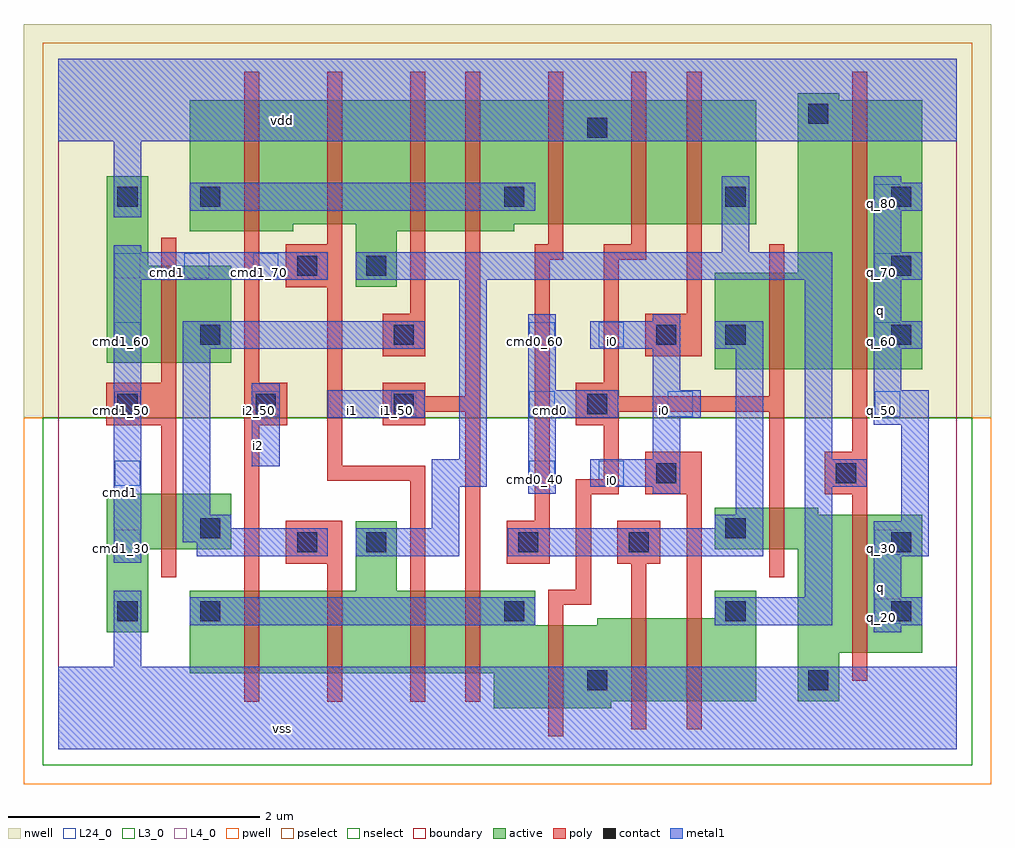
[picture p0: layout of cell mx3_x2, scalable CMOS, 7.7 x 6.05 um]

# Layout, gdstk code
import gdstk
lib = gdstk.Library(unit=1e-6, precision=2.5e-09)
def R(c, l, rs):  # rectangles x0, y0, x1, y1
    for r in rs: c.add(gdstk.rectangle(r[:2], r[2:], *l))
def A(c, l, x, y, w, h, nx, ny, dx, dy):  # array of equal rectangles
    R(c, l, [(x+i*dx, y+j*dy, x+i*dx+w, y+j*dy+h) for i in range(nx) for j in range(ny)])
L3_0 = (3, 0)
L4_0 = (4, 0)
L24_0 = (24, 0)
contact = (25, 0)
pwell = (41, 0)
nwell = (42, 0)
active = (43, 0)
pselect = (44, 0)
nselect = (45, 0)
poly = (46, 0)
metal1 = (49, 0)
boundary = (63, 0)

mx3_x2 = lib.new_cell('mx3_x2')
R(mx3_x2, L3_0, [(3.465,0.33,4.4,0.385), (3.465,0.385,5.555,0.605), (5.885,0.385,6.215,0.77), (1.045,0.605,5.555,0.99), (5.885,0.77,6.875,1.595), (0.385,0.935,0.715,1.595), (1.045,0.99,3.795,1.265), (4.29,0.99,5.555,1.045), (5.225,1.045,5.555,1.265), (2.365,1.265,2.695,1.815), (0.385,1.595,1.375,2.035), (5.225,1.595,6.875,1.87), (5.225,1.87,6.05,1.925)])
R(mx3_x2, L4_0, [(5.225,3.025,6.875,3.795), (0.385,3.08,1.375,3.85), (2.365,3.685,2.695,4.125), (5.885,3.795,6.875,5.17), (0.385,3.85,0.715,4.565), (1.045,4.125,1.87,4.18), (2.365,4.125,3.63,4.18), (1.045,4.18,5.555,5.17), (5.885,5.17,6.215,5.225)])
A(mx3_x2, L24_0, 0.45, 2.65, 0.2, 0.2, 5, 1, 1.1, 0)
A(mx3_x2, L24_0, 6.5, 2.65, 0.2, 0.2, 1, 4, 0, 0.55)
A(mx3_x2, L24_0, 0.45, 3.75, 0.2, 0.2, 3, 1, 0.55, 0)
R(mx3_x2, L24_0, [(6.5,1,6.7,1.2), (0.45,1.55,0.65,1.75), (6.5,1.55,6.7,1.75), (0.45,2.1,0.65,2.3), (3.75,2.1,3.95,2.3), (4.3,2.1,4.5,2.3), (0.45,3.2,0.65,3.4), (3.75,3.2,3.95,3.4), (4.3,3.2,4.5,3.4)])
A(mx3_x2, contact, 4.21, 0.47, 0.16, 0.16, 1, 3, 0, 2.2)
A(mx3_x2, contact, 0.47, 2.67, 0.16, 0.16, 3, 1, 1.1, 0)
A(mx3_x2, contact, 6.63, 3.22, 0.16, 0.16, 1, 3, 0, 0.55)
R(mx3_x2, contact, [(5.97,0.47,6.13,0.63), (0.47,1.02,0.63,1.18), (1.13,1.02,1.29,1.18), (3.55,1.02,3.71,1.18), (5.31,1.02,5.47,1.18), (6.63,1.02,6.79,1.18), (1.9,1.57,2.06,1.73), (2.45,1.57,2.61,1.73), (3.66,1.57,3.82,1.73), (4.54,1.57,4.7,1.73), (6.63,1.57,6.79,1.73), (1.13,1.68,1.29,1.84), (5.31,1.68,5.47,1.84), (4.76,2.12,4.92,2.28), (6.19,2.12,6.35,2.28), (1.13,3.22,1.29,3.38), (2.67,3.22,2.83,3.38), (4.76,3.22,4.92,3.38), (5.31,3.22,5.47,3.38), (1.9,3.77,2.06,3.93), (2.45,3.77,2.61,3.93), (0.47,4.32,0.63,4.48), (1.13,4.32,1.29,4.48), (3.55,4.32,3.71,4.48), (5.31,4.32,5.47,4.48), (5.97,4.98,6.13,5.14)])
R(mx3_x2, pwell, [(-0.275,-0.275,7.425,2.64)])
R(mx3_x2, nwell, [(-0.275,2.64,7.425,5.775)])
R(mx3_x2, active, [(3.465,0.33,4.4,0.385), (3.465,0.385,5.555,0.605), (5.885,0.385,6.215,0.77), (1.045,0.605,5.555,0.99), (5.885,0.77,6.875,1.595), (0.385,0.935,0.715,1.595), (1.045,0.99,3.795,1.265), (4.29,0.99,5.555,1.045), (5.225,1.045,5.555,1.265), (2.365,1.265,2.695,1.815), (0.385,1.595,1.375,2.035), (5.225,1.595,6.875,1.87), (5.225,1.87,6.05,1.925), (5.225,3.025,6.875,3.795), (0.385,3.08,1.375,3.85), (2.365,3.685,2.695,4.125), (5.885,3.795,6.875,5.17), (0.385,3.85,0.715,4.565), (1.045,4.125,1.87,4.18), (2.365,4.125,3.63,4.18), (1.045,4.18,5.555,5.17), (5.885,5.17,6.215,5.225)])
R(mx3_x2, pselect, [(-0.125,2.64,7.275,5.625)])
R(mx3_x2, nselect, [(-0.125,-0.125,7.275,2.64)])
R(mx3_x2, poly, [(3.9,0.105,4.02,1.15), (4.56,0.16,4.68,1.48), (5,0.16,5.12,2.03), (1.48,0.38,1.6,2.58), (2.14,0.38,2.26,1.48), (2.8,0.38,2.92,2.14), (3.24,0.38,3.36,2.69), (6.32,0.545,6.44,2.03), (3.9,1.15,4.24,1.27), (4.12,1.27,4.24,2.03), (0.82,1.37,0.94,2.58), (5.66,1.37,5.78,2.69), (1.81,1.48,2.26,1.82), (3.57,1.48,3.91,1.82), (4.45,1.48,4.79,1.82), (3.79,1.82,3.91,3.9), (4.12,2.03,4.46,2.15), (4.67,2.03,5.12,2.37), (6.1,2.03,6.44,2.37), (2.14,2.14,2.92,2.26), (4.34,2.15,4.46,2.58), (2.14,2.26,2.26,3.68), (6.32,2.37,6.44,5.395), (0.38,2.58,0.94,2.92), (1.48,2.58,1.82,2.92), (2.58,2.58,2.92,2.69), (4.12,2.58,4.46,2.69), (2.58,2.69,3.36,2.81), (4.12,2.69,5.78,2.81), (2.58,2.81,2.92,2.92), (3.24,2.81,3.36,5.395), (4.12,2.81,4.46,2.92), (5.66,2.81,5.78,4.02), (0.82,2.92,0.94,4.075), (1.48,2.92,1.6,5.395), (4.34,2.92,4.46,3.9), (2.58,3.13,2.92,3.47), (4.67,3.13,5.12,3.47), (2.8,3.47,2.92,5.395), (5,3.47,5.12,5.395), (1.81,3.68,2.26,4.02), (3.79,3.9,4.02,4.02), (4.34,3.9,4.68,4.02), (2.14,4.02,2.26,5.395), (3.9,4.02,4.02,5.395), (4.56,4.02,4.68,5.395)])
A(mx3_x2, metal1, 6.49, 2.86, 0.22, 0.33, 1, 3, 0, 0.55)
A(mx3_x2, metal1, 6.49, 3.19, 0.385, 0.22, 1, 3, 0, 0.55)
R(mx3_x2, metal1, [(0,0,7.15,0.66), (0.44,0.66,0.66,1.265), (6.49,0.935,6.71,0.99), (1.045,0.99,3.795,1.21), (5.225,0.99,6.16,1.21), (6.49,0.99,6.875,1.21), (5.94,1.21,6.16,2.09), (6.49,1.21,6.71,1.54), (0.44,1.485,0.66,3.74), (1.1,1.54,2.145,1.65), (2.365,1.54,3.19,1.76), (3.575,1.54,5.61,1.76), (6.49,1.54,6.93,1.815), (0.99,1.65,2.145,1.76), (0.99,1.76,1.375,1.87), (2.97,1.76,3.19,2.09), (5.225,1.76,5.61,1.87), (6.71,1.815,6.93,2.585), (0.99,1.87,1.21,3.19), (5.39,1.87,5.61,3.19), (3.74,2.035,3.96,2.64), (4.73,2.035,4.95,2.09), (2.97,2.09,3.41,2.31), (4.235,2.09,4.95,2.31), (5.94,2.09,6.435,2.31), (1.54,2.255,1.76,2.915), (3.19,2.31,3.41,3.74), (4.73,2.31,4.95,2.64), (5.94,2.31,6.16,3.74), (6.49,2.585,6.93,2.86), (2.145,2.64,2.915,2.86), (3.74,2.64,4.455,2.86), (4.73,2.64,5.115,2.86), (3.74,2.86,3.96,3.465), (4.73,2.86,4.95,3.19), (0.99,3.19,2.915,3.41), (4.235,3.19,4.95,3.41), (5.225,3.19,5.61,3.41), (4.73,3.41,4.95,3.465), (0.44,3.74,2.145,3.96), (2.365,3.74,6.16,3.96), (0.44,3.96,0.66,4.015), (5.28,3.96,5.5,4.565), (0.44,4.235,0.66,4.84), (1.045,4.29,3.795,4.51), (6.49,4.51,6.71,4.565), (0,4.84,7.15,5.5)])
R(mx3_x2, boundary, [(0,0,7.15,5.5)])
mx3_x2.add(gdstk.Label('vss', (1.7875,0.165), layer=49, texttype=0))
mx3_x2.add(gdstk.Label('q', (6.545,1.2925), layer=49, texttype=0))
mx3_x2.add(gdstk.Label('q', (6.545,3.4925), layer=49, texttype=0))
mx3_x2.add(gdstk.Label('i0', (4.4125,2.145), layer=49, texttype=0))
mx3_x2.add(gdstk.Label('i0', (4.825,2.695), layer=49, texttype=0))
mx3_x2.add(gdstk.Label('cmd0', (3.9175,2.695), layer=49, texttype=0))
mx3_x2.add(gdstk.Label('i0', (4.4125,3.245), layer=49, texttype=0))
mx3_x2.add(gdstk.Label('i1', (2.3375,2.695), layer=49, texttype=0))
mx3_x2.add(gdstk.Label('i2', (1.595,2.42), layer=49, texttype=0))
mx3_x2.add(gdstk.Label('cmd1', (0.495,2.0475), layer=49, texttype=0))
mx3_x2.add(gdstk.Label('cmd1', (0.865,3.795), layer=49, texttype=0))
mx3_x2.add(gdstk.Label('vdd', (1.7875,5.005), layer=49, texttype=0))
mx3_x2.add(gdstk.Label('cmd1_70', (1.05,3.8), layer=24, texttype=0))
mx3_x2.add(gdstk.Label('cmd1_70', (1.6,3.8), layer=24, texttype=0))
mx3_x2.add(gdstk.Label('cmd1_30', (0.5,1.6), layer=24, texttype=0))
mx3_x2.add(gdstk.Label('cmd1_40', (0.5,2.15), layer=24, texttype=0))
mx3_x2.add(gdstk.Label('cmd1_50', (0.5,2.7), layer=24, texttype=0))
mx3_x2.add(gdstk.Label('cmd1_60', (0.5,3.25), layer=24, texttype=0))
mx3_x2.add(gdstk.Label('cmd1_70', (0.5,3.8), layer=24, texttype=0))
mx3_x2.add(gdstk.Label('i2_50', (1.6,2.7), layer=24, texttype=0))
mx3_x2.add(gdstk.Label('i1_50', (2.7,2.7), layer=24, texttype=0))
mx3_x2.add(gdstk.Label('cmd0_40', (3.8,2.15), layer=24, texttype=0))
mx3_x2.add(gdstk.Label('cmd0_50', (3.8,2.7), layer=24, texttype=0))
mx3_x2.add(gdstk.Label('cmd0_60', (3.8,3.25), layer=24, texttype=0))
mx3_x2.add(gdstk.Label('i0_40', (4.35,2.15), layer=24, texttype=0))
mx3_x2.add(gdstk.Label('i0_60', (4.35,3.25), layer=24, texttype=0))
mx3_x2.add(gdstk.Label('i0_50', (4.9,2.7), layer=24, texttype=0))
mx3_x2.add(gdstk.Label('q_20', (6.55,1.05), layer=24, texttype=0))
mx3_x2.add(gdstk.Label('q_30', (6.55,1.6), layer=24, texttype=0))
mx3_x2.add(gdstk.Label('q_50', (6.55,2.7), layer=24, texttype=0))
mx3_x2.add(gdstk.Label('q_60', (6.55,3.25), layer=24, texttype=0))
mx3_x2.add(gdstk.Label('q_70', (6.55,3.8), layer=24, texttype=0))
mx3_x2.add(gdstk.Label('q_80', (6.55,4.35), layer=24, texttype=0))

lib.write_gds('mx3_x2.gds')
